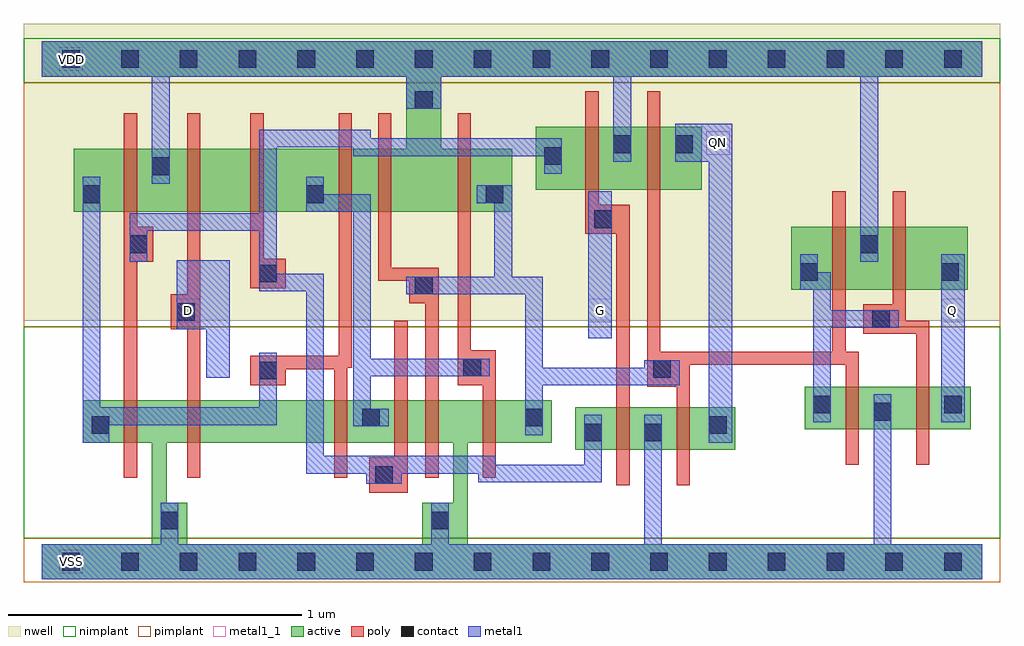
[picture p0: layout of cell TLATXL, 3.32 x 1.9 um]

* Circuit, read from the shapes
.subckt TLATXL D G Q QN VDD VSS
M1 VSS n1 n2 VSS nfet w=0.145u l=0.045u
M2 n3 D VSS VSS nfet w=0.145u l=0.045u
M3 n4 n2 n3 VSS nfet w=0.145u l=0.045u
M4 n5 n1 n4 VSS nfet w=0.145u l=0.045u
M5 VSS n6 n5 VSS nfet w=0.145u l=0.045u
M6 n6 n4 VSS VSS nfet w=0.145u l=0.045u
M7 VSS G n1 VSS nfet w=0.145u l=0.045u
M8 QN n6 VSS VSS nfet w=0.145u l=0.045u
M9 VSS n6 n7 VSS nfet w=0.145u l=0.045u
M10 Q n7 VSS VSS nfet w=0.145u l=0.045u
M11 VDD n1 n2 VDD pfet w=0.215u l=0.045u
M12 n8 D VDD VDD pfet w=0.215u l=0.045u
M13 n4 n1 n8 VDD pfet w=0.215u l=0.045u
M14 n9 n2 n4 VDD pfet w=0.215u l=0.045u
M15 VDD n6 n9 VDD pfet w=0.215u l=0.045u
M16 n6 n4 VDD VDD pfet w=0.215u l=0.045u
M17 VDD G n1 VDD pfet w=0.215u l=0.045u
M18 QN n6 VDD VDD pfet w=0.215u l=0.045u
M19 VDD n6 n7 VDD pfet w=0.215u l=0.045u
M20 Q n7 VDD VDD pfet w=0.215u l=0.045u
.ends

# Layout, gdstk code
import gdstk
lib = gdstk.Library(unit=1e-6, precision=5e-10)
def R(c, l, rs):  # rectangles x0, y0, x1, y1
    for r in rs: c.add(gdstk.rectangle(r[:2], r[2:], *l))
def A(c, l, x, y, w, h, nx, ny, dx, dy):  # array of equal rectangles
    R(c, l, [(x+i*dx, y+j*dy, x+i*dx+w, y+j*dy+h) for i in range(nx) for j in range(ny)])
def P(c, l, *ps):  # polygons
    for p in ps: c.add(gdstk.Polygon(p, *l))
active = (1, 0)
nwell = (2, 0)
poly = (3, 0)
nimplant = (4, 0)
pimplant = (5, 0)
contact = (6, 0)
metal1 = (7, 0)
metal1_1 = (7, 1)

tlatxl = lib.new_cell('TLATXL')
R(tlatxl, active, [(1.815,0.38,2.36,0.525), (2.595,0.45,3.16,0.595), (2.55,0.925,3.15,1.14), (1.68,1.265,2.245,1.48)])
P(tlatxl, active, [(0,1.77),(3.2,1.77),(3.2,1.65),(1.36,1.65),(1.36,1.405),(1.6,1.405),(1.6,1.19),(0.11,1.19),(0.11,1.405),(1.24,1.405),(1.24,1.65),(0,1.65)],
  [(0.14,0.55),(1.735,0.55),(1.735,0.405),(1.45,0.405),(1.45,0.06),(3.2,0.06),(3.2,-0.06),(0,-0.06),(0,0.06),(0.375,0.06),(0.375,0.405),(0.425,0.405),(0.425,0.2),(0.495,0.2),(0.495,0.06),(1.295,0.06),(1.295,0.2),(1.4,0.2),(1.4,0.405),(0.14,0.405)])
R(tlatxl, nwell, [(-0.06,0.82,3.26,1.83)])
P(tlatxl, poly, [(0.28,1.525),(0.325,1.525),(0.325,1.14),(0.38,1.14),(0.38,1.02),(0.325,1.02),(0.325,0.285),(0.28,0.285)],
  [(0.495,1.525),(0.54,1.525),(0.54,0.285),(0.495,0.285),(0.495,0.79),(0.44,0.79),(0.44,0.91),(0.495,0.91)],
  [(0.71,1.525),(0.755,1.525),(0.755,1.03),(0.83,1.03),(0.83,0.93),(0.71,0.93)],
  [(1.01,1.525),(1.055,1.525),(1.055,0.66),(1.04,0.66),(1.04,0.285),(0.995,0.285),(0.995,0.655),(0.83,0.655),(0.83,0.6),(0.71,0.6),(0.71,0.7),(1.01,0.7)],
  [(1.145,1.525),(1.19,1.525),(1.19,1),(1.35,1),(1.35,0.285),(1.305,0.285),(1.305,0.88),(1.25,0.88),(1.25,0.955),(1.145,0.955)],
  [(1.415,1.525),(1.46,1.525),(1.46,0.72),(1.545,0.72),(1.545,0.285),(1.5,0.285),(1.5,0.6),(1.415,0.6)],
  [(1.85,1.6),(1.895,1.6),(1.895,1.215),(2,1.215),(2,0.26),(1.955,0.26),(1.955,1.115),(1.85,1.115)],
  [(2.06,1.6),(2.105,1.6),(2.105,0.715),(2.69,0.715),(2.69,1.26),(2.735,1.26),(2.735,0.715),(2.78,0.715),(2.78,0.33),(2.735,0.33),(2.735,0.67),(2.205,0.67),(2.205,0.26),(2.16,0.26),(2.16,0.595),(2.06,0.595)],
  [(2.895,1.26),(2.94,1.26),(2.94,0.82),(3.02,0.82),(3.02,0.33),(2.975,0.33),(2.975,0.775),(2.795,0.775),(2.795,0.875),(2.895,0.875)],
  [(1.2,0.82),(1.245,0.82),(1.245,0.235),(1.115,0.235),(1.115,0.355),(1.2,0.355)])
R(tlatxl, nimplant, [(-0.06,0.08,3.26,0.8), (-0.06,1.63,3.26,1.78)])
R(tlatxl, pimplant, [(-0.06,-0.07,3.26,0.08), (-0.06,0.8,3.26,1.63)])
A(tlatxl, contact, 0.07, -0.03, 0.06, 0.06, 16, 2, 0.2, 1.71)
R(tlatxl, contact, [(0.405,0.11,0.465,0.17), (1.325,0.11,1.385,0.17), (1.135,0.265,1.195,0.325), (1.845,0.41,1.905,0.47), (2.05,0.41,2.11,0.47), (0.17,0.435,0.23,0.495), (2.27,0.435,2.33,0.495), (1.09,0.46,1.15,0.52), (1.645,0.46,1.705,0.52), (2.83,0.48,2.89,0.54), (2.625,0.505,2.685,0.565), (3.07,0.505,3.13,0.565), (0.74,0.62,0.8,0.68), (2.08,0.625,2.14,0.685), (1.435,0.63,1.495,0.69), (2.825,0.795,2.885,0.855), (0.46,0.82,0.52,0.88), (1.27,0.91,1.33,0.97), (0.74,0.95,0.8,1.01), (2.58,0.955,2.64,1.015), (3.06,0.955,3.12,1.015), (0.3,1.05,0.36,1.11), (2.785,1.05,2.845,1.11), (1.88,1.135,1.94,1.195), (0.14,1.22,0.2,1.28), (0.9,1.22,0.96,1.28), (1.51,1.22,1.57,1.28), (0.375,1.315,0.435,1.375), (1.71,1.35,1.77,1.41), (1.945,1.39,2.005,1.45), (2.155,1.39,2.215,1.45), (1.27,1.54,1.33,1.6)])
R(tlatxl, metal1, [(3.06,0.475,3.14,1.045), (1.86,0.76,1.94,1.26)])
P(tlatxl, metal1, [(0,1.77),(3.2,1.77),(3.2,1.65),(2.845,1.65),(2.845,1.02),(2.785,1.02),(2.785,1.65),(2.005,1.65),(2.005,1.36),(1.945,1.36),(1.945,1.65),(1.36,1.65),(1.36,1.54),(1.24,1.54),(1.24,1.65),(0.435,1.65),(0.435,1.285),(0.375,1.285),(0.375,1.65),(0,1.65)],
  [(0.14,1.31),(0.2,1.31),(0.2,0.525),(0.74,0.525),(0.74,0.71),(0.8,0.71),(0.8,0.465),(0.23,0.465),(0.23,0.405),(0.14,0.405)],
  [(0.74,1.47),(1.12,1.47),(1.12,1.44),(1.77,1.44),(1.77,1.32),(1.71,1.32),(1.71,1.38),(1.06,1.38),(1.06,1.41),(0.8,1.41),(0.8,0.98),(0.96,0.98),(0.96,0.36),(1.545,0.36),(1.545,0.33),(1.845,0.33),(1.845,0.5),(1.905,0.5),(1.905,0.27),(1.485,0.27),(1.485,0.3),(1.225,0.3),(1.225,0.265),(1.105,0.265),(1.105,0.3),(0.9,0.3),(0.9,0.92),(0.74,0.92),(0.74,1.125),(0.36,1.125),(0.36,1.02),(0.3,1.02),(0.3,1.185),(0.74,1.185)],
  [(0.9,1.31),(0.96,1.31),(0.96,1.25),(1.12,1.25),(1.12,0.69),(1.525,0.69),(1.525,0.63),(1.12,0.63),(1.12,0.52),(1.18,0.52),(1.18,0.46),(1.06,0.46),(1.06,1.19),(0.9,1.19)],
  [(1.48,1.28),(1.6,1.28),(1.6,0.97),(1.705,0.97),(1.705,0.66),(2.05,0.66),(2.05,0.685),(2.17,0.685),(2.17,0.6),(1.705,0.6),(1.705,0.43),(1.645,0.43),(1.645,0.91),(1.24,0.91),(1.24,0.97),(1.54,0.97),(1.54,1.22),(1.48,1.22)],
  [(2.155,1.49),(2.35,1.49),(2.35,0.405),(2.27,0.405),(2.27,1.36),(2.155,1.36)],
  [(0.46,1.025),(0.64,1.025),(0.64,0.625),(0.56,0.625),(0.56,0.79),(0.46,0.79)],
  [(2.58,1.045),(2.64,1.045),(2.64,0.985),(2.685,0.985),(2.685,0.855),(2.915,0.855),(2.915,0.795),(2.685,0.795),(2.685,0.475),(2.625,0.475),(2.625,0.925),(2.58,0.925)],
  [(0.405,0.2),(0.465,0.2),(0.465,0.06),(1.325,0.06),(1.325,0.2),(1.385,0.2),(1.385,0.06),(2.05,0.06),(2.05,0.5),(2.11,0.5),(2.11,0.06),(2.83,0.06),(2.83,0.57),(2.89,0.57),(2.89,0.06),(3.2,0.06),(3.2,-0.06),(0,-0.06),(0,0.06),(0.405,0.06)])
R(tlatxl, metal1_1, [(0.06,-0.04,0.14,0.04), (0.46,0.815,0.54,0.895), (1.86,0.815,1.94,0.895), (3.06,0.815,3.14,0.895), (2.26,1.385,2.34,1.465), (0.06,1.67,0.14,1.75)])
tlatxl.add(gdstk.Label('Q', (3.1,0.855), layer=7, texttype=1))
tlatxl.add(gdstk.Label('QN', (2.3,1.425), layer=7, texttype=1))
tlatxl.add(gdstk.Label('G', (1.9,0.855), layer=7, texttype=1))
tlatxl.add(gdstk.Label('D', (0.5,0.855), layer=7, texttype=1))
tlatxl.add(gdstk.Label('VDD', (0.1,1.71), layer=7, texttype=1))
tlatxl.add(gdstk.Label('VSS', (0.1,0), layer=7, texttype=1))
tlatxl.add(gdstk.Label('TLATXL', (0,0), layer=63, texttype=0))

lib.write_gds('TLATXL.gds')
